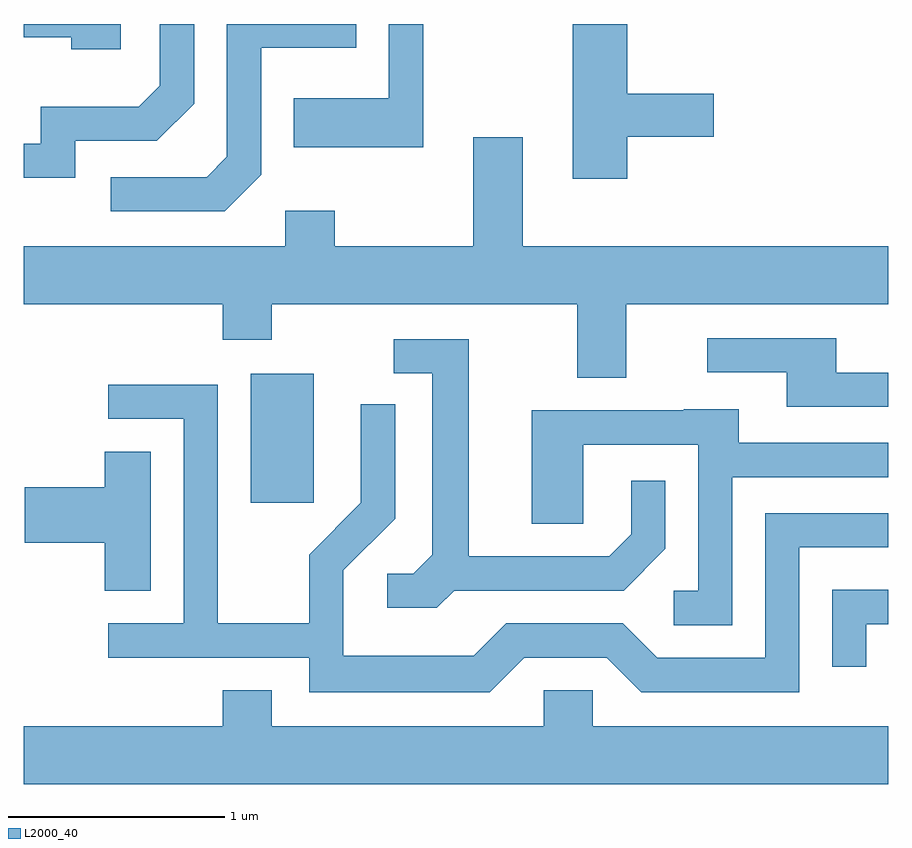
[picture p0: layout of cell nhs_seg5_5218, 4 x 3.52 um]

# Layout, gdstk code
import gdstk
lib = gdstk.Library(unit=1e-6, precision=1e-09)
def R(c, l, rs):  # rectangles x0, y0, x1, y1
    for r in rs: c.add(gdstk.rectangle(r[:2], r[2:], *l))
def P(c, l, *ps):  # polygons
    for p in ps: c.add(gdstk.Polygon(p, *l))
L2000_40 = (2000, 40)

nhs_seg5_5218 = lib.new_cell('nhs_seg5_5218')
R(nhs_seg5_5218, L2000_40, [(340.661,1475.856,340.954,1476.454)])
P(nhs_seg5_5218, L2000_40, [(340.059,1478.072),(339.611,1478.072),(339.611,1478.011),(339.831,1478.011),(339.831,1477.956),(340.059,1477.956)],
  [(342.404,1477.551),(342.804,1477.551),(342.804,1477.749),(342.404,1477.749),(342.404,1478.072),(342.151,1478.072),(342.151,1477.356),(342.404,1477.356)],
  [(340.709,1477.374),(340.709,1477.961),(341.149,1477.961),(341.149,1478.072),(340.551,1478.072),(340.551,1477.457),(340.459,1477.364),(340.013,1477.364),(340.013,1477.206),(340.542,1477.206)],
  [(341.459,1478.072),(341.301,1478.072),(341.301,1477.729),(340.861,1477.729),(340.861,1477.501),(341.459,1477.501)],
  [(339.849,1477.531),(340.227,1477.531),(340.399,1477.704),(340.399,1478.072),(340.241,1478.072),(340.241,1477.787),(340.144,1477.689),(339.691,1477.689),(339.691,1477.519),(339.611,1477.519),(339.611,1477.361),(339.849,1477.361)],
  [(339.611,1476.776),(340.531,1476.776),(340.531,1476.611),(340.759,1476.611),(340.759,1476.776),(342.171,1476.776),(342.171,1476.436),(342.399,1476.436),(342.399,1476.776),(343.611,1476.776),(343.611,1477.044),(341.919,1477.044),(341.919,1477.549),(341.691,1477.549),(341.691,1477.044),(341.049,1477.044),(341.049,1477.209),(340.821,1477.209),(340.821,1477.044),(339.611,1477.044)],
  [(343.611,1476.459),(343.369,1476.459),(343.369,1476.619),(342.773,1476.619),(342.773,1476.461),(343.141,1476.461),(343.141,1476.301),(343.611,1476.301)],
  [(341.602,1475.451),(342.387,1475.451),(342.579,1475.644),(342.579,1475.958),(342.421,1475.958),(342.421,1475.712),(342.319,1475.609),(341.669,1475.609),(341.669,1476.614),(341.323,1476.614),(341.323,1476.456),(341.501,1476.456),(341.501,1475.617),(341.414,1475.529),(341.293,1475.529),(341.293,1475.371),(341.522,1475.371)],
  [(341.927,1475.141),(342.309,1475.141),(342.469,1474.981),(343.199,1474.981),(343.199,1475.651),(343.611,1475.651),(343.611,1475.809),(343.041,1475.809),(343.041,1475.139),(342.542,1475.139),(342.382,1475.299),(341.844,1475.299),(341.694,1475.149),(341.089,1475.149),(341.089,1475.544),(341.329,1475.784),(341.329,1476.313),(341.171,1476.313),(341.171,1475.857),(340.931,1475.617),(340.931,1475.299),(340.509,1475.299),(340.509,1476.404),(340.003,1476.404),(340.003,1476.246),(340.351,1476.246),(340.351,1475.299),(340.003,1475.299),(340.003,1475.141),(340.931,1475.141),(340.931,1474.981),(341.767,1474.981)],
  [(342.889,1475.976),(343.611,1475.976),(343.611,1476.134),(342.919,1476.134),(342.919,1476.289),(342.665,1476.289),(342.665,1476.284),(341.961,1476.284),(341.961,1475.761),(342.199,1475.761),(342.199,1476.126),(342.731,1476.126),(342.731,1475.449),(342.618,1475.449),(342.618,1475.291),(342.889,1475.291)],
  [(340.199,1476.094),(339.986,1476.094),(339.986,1475.929),(339.616,1475.929),(339.616,1475.671),(339.986,1475.671),(339.986,1475.451),(340.199,1475.451)],
  [(343.509,1475.296),(343.611,1475.296),(343.611,1475.454),(343.351,1475.454),(343.351,1475.098),(343.509,1475.098)],
  [(343.611,1474.824),(342.244,1474.824),(342.244,1474.989),(342.016,1474.989),(342.016,1474.824),(340.759,1474.824),(340.759,1474.989),(340.531,1474.989),(340.531,1474.824),(339.611,1474.824),(339.611,1474.556),(343.611,1474.556)])

lib.write_gds('nhs_seg5_5218.gds')
